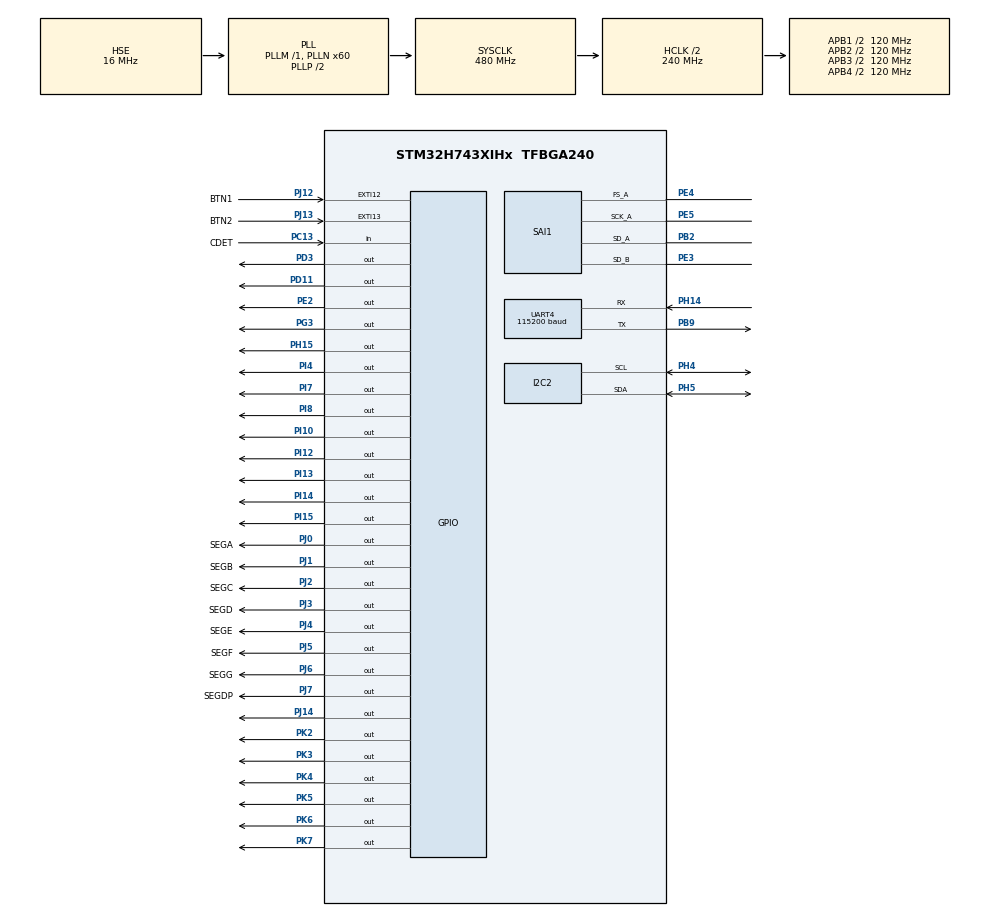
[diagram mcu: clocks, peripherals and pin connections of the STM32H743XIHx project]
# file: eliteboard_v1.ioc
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Dma.Request0=SAI1_B
Dma.Request1=SAI1_A
Dma.SAI1_A.1.Direction=DMA_PERIPH_TO_MEMORY
Dma.SAI1_A.1.EventEnable=DISABLE
Dma.SAI1_A.1.FIFOMode=DMA_FIFOMODE_DISABLE
Dma.SAI1_A.1.Instance=DMA1_Stream1
Dma.SAI1_A.1.MemDataAlignment=DMA_MDATAALIGN_HALFWORD
Dma.SAI1_A.1.MemInc=DMA_MINC_ENABLE
Dma.SAI1_A.1.Mode=DMA_CIRCULAR
Dma.SAI1_A.1.PeriphDataAlignment=DMA_PDATAALIGN_HALFWORD
Dma.SAI1_A.1.PeriphInc=DMA_PINC_DISABLE
Dma.SAI1_A.1.Polarity=HAL_DMAMUX_REQ_GEN_RISING
Dma.SAI1_A.1.Priority=DMA_PRIORITY_LOW
Dma.SAI1_A.1.RequestNumber=1
Dma.SAI1_A.1.SignalID=NONE
Dma.SAI1_A.1.SyncEnable=DISABLE
Dma.SAI1_A.1.SyncPolarity=HAL_DMAMUX_SYNC_NO_EVENT
Dma.SAI1_A.1.SyncRequestNumber=1
Dma.SAI1_A.1.SyncSignalID=NONE
Dma.SAI1_B.0.Direction=DMA_MEMORY_TO_PERIPH
Dma.SAI1_B.0.EventEnable=DISABLE
Dma.SAI1_B.0.FIFOMode=DMA_FIFOMODE_DISABLE
Dma.SAI1_B.0.Instance=DMA1_Stream0
Dma.SAI1_B.0.MemDataAlignment=DMA_MDATAALIGN_HALFWORD
Dma.SAI1_B.0.MemInc=DMA_MINC_ENABLE
Dma.SAI1_B.0.Mode=DMA_CIRCULAR
Dma.SAI1_B.0.PeriphDataAlignment=DMA_PDATAALIGN_HALFWORD
Dma.SAI1_B.0.PeriphInc=DMA_PINC_DISABLE
Dma.SAI1_B.0.Polarity=HAL_DMAMUX_REQ_GEN_RISING
Dma.SAI1_B.0.Priority=DMA_PRIORITY_LOW
Dma.SAI1_B.0.RequestNumber=1
Dma.SAI1_B.0.SignalID=NONE
Dma.SAI1_B.0.SyncEnable=DISABLE
Dma.SAI1_B.0.SyncPolarity=HAL_DMAMUX_SYNC_NO_EVENT
Dma.SAI1_B.0.SyncRequestNumber=1
Dma.SAI1_B.0.SyncSignalID=NONE
I2C2.Timing=0x307075B1
Mcu.Family=STM32H7
Mcu.Name=STM32H743XIHx
Mcu.Package=TFBGA240
NVIC.DMA1_Stream0_IRQn=true\:0\:0\:false\:false\:true\:false\:true
NVIC.DMA1_Stream1_IRQn=true\:0\:0\:false\:false\:true\:false\:true
NVIC.EXTI15_10_IRQn=true\:0\:0\:false\:false\:true\:true\:true
NVIC.PriorityGroup=NVIC_PRIORITYGROUP_4
NVIC.TIM1_UP_IRQn=true\:0\:0\:false\:false\:true\:true\:true
PA0_C.Signal=ADCx_INN1
PA13\ (JTMS/SWDIO).Mode=JTAG_5_pins
PA13\ (JTMS/SWDIO).Signal=DEBUG_JTMS-SWDIO
PA14\ (JTCK/SWCLK).Mode=JTAG_5_pins
PA14\ (JTCK/SWCLK).Signal=DEBUG_JTCK-SWCLK
PA15\ (JTDI).Mode=JTAG_5_pins
PA15\ (JTDI).Signal=DEBUG_JTDI
PA1_C.Signal=ADCx_INP1
PB2.Mode=SAI_A_AsyncSlave
PB2.Signal=SAI1_SD_A
PB3\ (JTDO/TRACESWO).Mode=JTAG_5_pins
PB3\ (JTDO/TRACESWO).Signal=DEBUG_JTDO-SWO
PB4\ (NJTRST).Mode=JTAG_5_pins
PB4\ (NJTRST).Signal=DEBUG_JTRST
PB9.Mode=Asynchronous
PB9.Signal=UART4_TX
PC13.GPIO_Label=CDET
PC13.GPIO_PuPd=GPIO_PULLUP
PC13.Signal=GPIO_Input
PC14-OSC32_IN\ (OSC32_IN).Mode=LSE-External-Oscillator
PC14-OSC32_IN\ (OSC32_IN).Signal=RCC_OSC32_IN
PC15-OSC32_OUT\ (OSC32_OUT).Mode=LSE-External-Oscillator
PC15-OSC32_OUT\ (OSC32_OUT).Signal=RCC_OSC32_OUT
PD11.Signal=GPIO_Output
PD3.Signal=GPIO_Output
PD7.Signal=SPI1_MOSI
PE2.Signal=GPIO_Output
PE3.Mode=SAI_B_SyncSlave
PE3.Signal=SAI1_SD_B
PE4.Mode=SAI_A_AsyncSlave
PE4.Signal=SAI1_FS_A
PE5.Mode=SAI_A_AsyncSlave
PE5.Signal=SAI1_SCK_A
PG3.Signal=GPIO_Output
PH0-OSC_IN\ (PH0).Mode=HSE-External-Oscillator
PH0-OSC_IN\ (PH0).Signal=RCC_OSC_IN
PH1-OSC_OUT\ (PH1).Mode=HSE-External-Oscillator
PH1-OSC_OUT\ (PH1).Signal=RCC_OSC_OUT
PH14.Mode=Asynchronous
PH14.Signal=UART4_RX
PH15.Signal=GPIO_Output
PH4.GPIO_Pu=GPIO_PULLUP
PH4.Mode=I2C
PH4.Signal=I2C2_SCL
PH5.GPIO_Pu=GPIO_PULLUP
PH5.Mode=I2C
PH5.Signal=I2C2_SDA
PI10.Signal=GPIO_Output
PI12.Signal=GPIO_Output
PI13.Signal=GPIO_Output
PI14.Signal=GPIO_Output
PI15.Signal=GPIO_Output
PI4.Signal=GPIO_Output
PI7.Signal=GPIO_Output
PI8.Signal=GPIO_Output
PJ0.GPIO_Label=SEGA
PJ0.Signal=GPIO_Output
PJ1.GPIO_Label=SEGB
PJ1.Signal=GPIO_Output
PJ12.GPIO_Label=BTN1
PJ12.Signal=GPXTI12
PJ13.GPIO_Label=BTN2
PJ13.Signal=GPXTI13
PJ14.Signal=GPIO_Output
PJ2.GPIO_Label=SEGC
PJ2.Signal=GPIO_Output
PJ3.GPIO_Label=SEGD
PJ3.Signal=GPIO_Output
PJ4.GPIO_Label=SEGE
PJ4.Signal=GPIO_Output
PJ5.GPIO_Label=SEGF
PJ5.Signal=GPIO_Output
PJ6.GPIO_Label=SEGG
PJ6.Signal=GPIO_Output
PJ7.GPIO_Label=SEGDP
PJ7.Signal=GPIO_Output
PK2.Signal=GPIO_Output
PK3.Signal=GPIO_Output
PK4.Signal=GPIO_Output
PK5.Signal=GPIO_Output
PK6.Signal=GPIO_Output
PK7.Signal=GPIO_Output
ProjectManager.HeapSize=0x200
ProjectManager.StackSize=0x400
ProjectManager.TargetToolchain=Makefile
RCC.ADCFreq_Value=150000000
RCC.APB1Freq_Value=120000000
RCC.APB2Freq_Value=120000000
RCC.APB3Freq_Value=120000000
RCC.APB4Freq_Value=120000000
RCC.CortexFreq_Value=480000000
RCC.D1PPRE=RCC_APB3_DIV2
RCC.D2PPRE1=RCC_APB1_DIV2
RCC.D2PPRE2=RCC_APB2_DIV2
RCC.D3PPRE=RCC_APB4_DIV2
RCC.DIVM1=1
RCC.DIVM2=1
RCC.DIVM3=8
RCC.DIVN1=60
RCC.DIVN2=9
RCC.DIVN3=120
RCC.DIVP2=1
RCC.DIVQ1=8
RCC.DIVR3=3
RCC.HCLKFreq_Value=240000000
RCC.HPRE=RCC_HCLK_DIV2
RCC.HSE_VALUE=16000000
RCC.PLL2FRACN=3072
RCC.PLLFRACN=0
RCC.PLLSourceVirtual=RCC_PLLSOURCE_HSE
RCC.SYSCLKFreq_VALUE=480000000
RCC.SYSCLKSource=RCC_SYSCLKSOURCE_PLLCLK
RCC.USBCLockSelection=RCC_USBCLKSOURCE_HSI48
RCC.USBFreq_Value=48000000
SAI1.AudioMode-SAI_A_AsyncSlave=SAI_MODESLAVE_RX
SAI1.AudioMode-SAI_B_SyncSlave=SAI_MODESLAVE_TX
SAI1.ClockStrobing-SAI_A_AsyncSlave=SAI_CLOCKSTROBING_FALLINGEDGE
SAI1.ClockStrobing-SAI_B_SyncSlave=SAI_CLOCKSTROBING_FALLINGEDGE
SAI1.DataSize-SAI_A_AsyncSlave=SAI_DATASIZE_16
SAI1.DataSize-SAI_B_SyncSlave=SAI_DATASIZE_16
SAI1.FSOffset-SAI_A_AsyncSlave=SAI_FS_FIRSTBIT
SAI1.FSOffset-SAI_B_SyncSlave=SAI_FS_FIRSTBIT
SAI1.FSPolarity-SAI_A_AsyncSlave=SAI_FS_ACTIVE_HIGH
SAI1.FSPolarity-SAI_B_SyncSlave=SAI_FS_ACTIVE_HIGH
SAI1.FrameLength-SAI_A_AsyncSlave=32
SAI1.FrameLength-SAI_B_SyncSlave=32
SAI1.Instance-SAI_A_AsyncSlave=SAI$Index_Block_A
SAI1.Instance-SAI_B_SyncSlave=SAI$Index_Block_B
SAI1.SlotActive-SAI_A_AsyncSlave=0x0000FFFF
SAI1.SlotActive-SAI_B_SyncSlave=0x0000FFFF
SAI1.SlotNumber-SAI_A_AsyncSlave=2
SAI1.SlotNumber-SAI_B_SyncSlave=2
SAI1.TriState-SAI_A_AsyncSlave=SAI_OUTPUT_RELEASED
SAI1.TriState-SAI_B_SyncSlave=SAI_OUTPUT_NOTRELEASED
SAI1.VirtualMode-SAI_A_AsyncSlave=VM_SLAVE
SAI1.VirtualMode-SAI_B_SyncSlave=VM_SLAVE
SAI1.VirtualSlotActive-SAI_A_AsyncSlave=SAI_SLOTACTIVE_ALL
SAI1.VirtualSlotActive-SAI_B_SyncSlave=SAI_SLOTACTIVE_ALL
SH.ADCx_INN1.0=ADC2_INN1
SH.ADCx_INN1.1=ADC1_INN1
SH.ADCx_INP1.0=ADC2_INP1
SH.ADCx_INP1.1=ADC1_INP1
TIM1.Period=10000-1
TIM1.Prescaler=2400-1
UART4.BaudRate=115200
VP_TIM1_VS_ClockSourceINT.Mode=Internal
board=custom

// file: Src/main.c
/* USER CODE BEGIN Header */
/**
  ******************************************************************************
  * @file           : main.c
  * @brief          : Main program body
  ******************************************************************************
  * @attention
  *
  * <h2><center>&copy; Copyright (c) 2019 STMicroelectronics.
  * All rights reserved.</center></h2>
  *
  * This software component is licensed by ST under BSD 3-Clause license,
  * the "License"; You may not use this file except in compliance with the
  * License. You may obtain a copy of the License at:
  *                        opensource.org/licenses/BSD-3-Clause
  *
  ******************************************************************************
  */
/* USER CODE END Header */
#include "main.h"
#include "dma.h"
#include "i2c.h"
#include "sai.h"
#include "tim.h"
#include "usart.h"
#include "gpio.h"

/* USER CODE BEGIN Includes */
#include "i2c_hal.h"
#include "wm8731.h"
#include <math.h>
#include "arm_math.h"
#include "arm_const_structs.h"
#include <string.h>
/* USER CODE END Includes */

/* USER CODE BEGIN PD */

#define BUF_SIZE 256
#define HALF_BUF_SIZE 128
#define N_COEFF 64

/* USER CODE END PD */

/* USER CODE BEGIN PV */

static enum{FFT_PASSTHROUGH, FFT_OLADD, BP_OLADD, FFT_OLSAVE, BP_OLSAVE} subtasks;

static subtask = FFT_OLSAVE;

// FILTER COEFFICIENTS
static const float32_t coeffs[N_COEFF] = {
  8.02421002e-04,  7.25938064e-04,  5.12894046e-04,  1.31785153e-04,
 -4.31837866e-04, -1.13951343e-03, -1.87208380e-03, -2.42621876e-03,
 -2.54591366e-03, -1.98909127e-03, -6.16700551e-04,  1.51941922e-03,
  4.11934253e-03,  6.63558316e-03,  8.34733050e-03,  8.50650154e-03,
  6.53307221e-03,  2.21910582e-03, -4.10925132e-03, -1.15209924e-02,
 -1.85355123e-02, -2.33136428e-02, -2.39634396e-02, -1.89102476e-02,
 -7.25969981e-03,  1.09242204e-02,  3.44933495e-02,  6.12825307e-02,
  8.83731243e-02,  1.12515544e-01,  1.30638711e-01,  1.40353271e-01,
  1.40353271e-01,  1.30638711e-01,  1.12515544e-01,  8.83731243e-02,
  6.12825307e-02,  3.44933495e-02,  1.09242204e-02, -7.25969981e-03,
 -1.89102476e-02, -2.39634396e-02, -2.33136428e-02, -1.85355123e-02,
 -1.15209924e-02, -4.10925132e-03,  2.21910582e-03,  6.53307221e-03,
  8.50650154e-03,  8.34733050e-03,  6.63558316e-03,  4.11934253e-03,
  1.51941922e-03, -6.16700551e-04, -1.98909127e-03, -2.54591366e-03,
 -2.42621876e-03, -1.87208380e-03, -1.13951343e-03, -4.31837866e-04,
  1.31785153e-04,  5.12894046e-04,  7.25938064e-04,  8.02421002e-04};

// BANDPASS
static const uint16_t fs = 48000;
static float32_t wc = 2 * PI * 10000.0 / fs;
static const float32_t w_max = 2 * PI * 17000.0;
static const float32_t w_min = 2 * PI * 3000.0;
static const float32_t increment = 500.0 / fs;

// BUTTON FLAGS
static uint8_t fc_incr_flag = 0;
static uint8_t fc_decr_flag = 1;

/* USER CODE END PV */

void SystemClock_Config(void);
/* USER CODE BEGIN PFP */

void update_coeffs(float32_t *shift_coeff_buf, float32_t *shift_coeff_inv_buf);
void overlap_add(float32_t *oladd_buf, float32_t *overlap_buf);
void overlap_save(void);

/* USER CODE END PFP */

int main(void)
{

  /* MCU Configuration--------------------------------------------------------*/

  /* Reset of all peripherals, Initializes the Flash interface and the Systick. */

  HAL_Init();

  /* Configure the system clock */
  SystemClock_Config();

  /* Initialize all configured peripherals */
  MX_GPIO_Init();
  MX_DMA_Init();
  MX_I2C2_Init();
  MX_UART4_Init();
  MX_SAI1_Init();
  MX_TIM1_Init();
  /* USER CODE BEGIN 2 */

  struct i2c_dev_s i2c_dev;
  i2c_init(&i2c_dev, &hi2c2);
  struct wm8731_dev_s wm8731_dev;
  wm8731_init(&wm8731_dev, &i2c_dev, &hsai_BlockB1, &hsai_BlockA1, 0b00110100);

  wm8731_dev.setup(&wm8731_dev, ADC48_DAC48); //initialize audio codec and set sampling rate
  wm8731_dev.startDacDma(&wm8731_dev); //start audio output
  wm8731_dev.startAdcDma(&wm8731_dev); //start audio input

  // CMSIS library FFT function
  arm_cfft_instance_f32 *S;
  S = &arm_cfft_sR_f32_len256;

  // init all buffer pointers
  int16_t in_buf[BUF_SIZE];
  memset(in_buf, 0, BUF_SIZE*sizeof(int16_t));
  int16_t out_buf[BUF_SIZE];
  memset(out_buf, 0, BUF_SIZE*sizeof(int16_t));

  float32_t shift_buf[2*BUF_SIZE];
  memset(shift_buf, 0, (2*BUF_SIZE)*sizeof(float32_t));
  float32_t shift_coeff_buf[2*BUF_SIZE];
  memset(shift_coeff_buf, 0, (2*BUF_SIZE)*sizeof(float32_t));
  float32_t shift_coeff_inv_buf[2*BUF_SIZE];
  memset(shift_coeff_inv_buf, 0, (2*BUF_SIZE)*sizeof(float32_t));

  for (int i = 0; i < BUF_SIZE; i++){ // insert coeffs
    shift_coeff_buf[2*i] = cos(wc*i);
    shift_coeff_buf[2*i+1] = -sin(wc*i);
    shift_coeff_inv_buf[2*i] = cos(wc*i);
    shift_coeff_inv_buf[2*i+1] = sin(wc*i);
  }

  float32_t fft_buf[2*BUF_SIZE];
  memset(fft_buf, 0, 2*BUF_SIZE*sizeof(float32_t));
  float32_t ifft_buf[2*BUF_SIZE];
  memset(ifft_buf, 0, 2*BUF_SIZE*sizeof(float32_t));

  float32_t filter_coeff_buf[2*BUF_SIZE];
  memset(filter_coeff_buf, 0, 2*BUF_SIZE*sizeof(float32_t));
  for(int i = 0; i < N_COEFF; i++) filter_coeff_buf[2*i] = coeffs[i]; // insert coeffs
  arm_cfft_f32(S, filter_coeff_buf, 0, 1); // transform to coeffs in spectrum

  float32_t block_add_buf[2*BUF_SIZE];
  memset(block_add_buf, 0, 2*BUF_SIZE*sizeof(float32_t));
  float32_t overlap_buf[BUF_SIZE];
  memset(overlap_buf, 0, BUF_SIZE*sizeof(float32_t));

  /* USER CODE END 2 */

  /* Infinite loop */
  /* USER CODE BEGIN WHILE */

  while (1)
  {
    // read audio input into input buffer
    wm8731_waitInBuf(&wm8731_dev);
    wm8731_getInBuf(&wm8731_dev, &in_buf);

    switch (subtask){
      case FFT_PASSTHROUGH:
        /**
         * [IN]    -> Read Input  -> [FFT]
         * [FFT]   -> FFT         -> [FFT]
         * [FFT]   -> Passthrough -> [IFFT]
         * [IFFT]  -> IFFT        -> [IFFT]
         * [IFFT]  -> Put Buffer  -> [OUT]
         */

        // copy input buffer into fft buffer
        for(int i = 0; i < BUF_SIZE; i++) fft_buf[i] = (float32_t)in_buf[i]; // [0-255]
        memset(&fft_buf[BUF_SIZE], 0, BUF_SIZE*sizeof(float32_t)); // [256-511]

        arm_cfft_f32(S, fft_buf, 0, 1); // FFT
        memcpy(ifft_buf, fft_buf, 2*BUF_SIZE*sizeof(uint16_t)); // direct passthrough
        arm_cfft_f32(S, ifft_buf, 1, 1); // IFFT
        for(int i = 0; i < BUF_SIZE; i++) out_buf[i] = ifft_buf[i]; // put buffer
        break;

      case FFT_OLADD:

        /**
         * Whats the max delay?
         * Max delax using Dirac's is 128 for FFT length 512, if the overlap buffer has length 256.
         * Filter of length 129 results in max delay of 128,
         * which can be stored in the overlap buffer (if chosen large enough).
         * The FFT length is 512, so max 256 samples per channel ca be used.
         *
         * What happens if it is exceeded?
         * If the delay is more than 128, in time domain one could simply argue that there is not enough space to store
         * all the samples in the designated arrays.
         * Because the filtering is done in frequency domain, and because a discrete spectrum always corresponds with a periodic
         * time signal, using a delay of more than 128 would result in shifting the datapoints of the end of the array to the front
         * after transforming back into time domain.
         *
         * Whats the impulse response for swapping left and right?
         * Since the two channels are represented by the real and imaginary part of the spectrum respectively,
         * an impulse response of j will swap the channels.
        */

        /**
         * [IN]    -> Read Input  -> [FFT]
         * [FFT]   -> FFT         -> [FFT]
         * [FFT]   -> Filter      -> [IFFT]
         * [IFFT]  -> IFFT        -> [IFFT]
         * [IFFT]  -> Copy Buffer -> [OLADD]
         * [OLADD] -> Overlap-Add -> [OLADD]
         * [OLADD] -> Put Buffer  -> [OUT]
         */

        // copy input buffer into fft buffer
        for(int i = 0; i < BUF_SIZE; i++) fft_buf[i] = (float32_t)in_buf[i]; // [0-255]
        memset(&fft_buf[BUF_SIZE], 0, BUF_SIZE*sizeof(float32_t)); // [256-511]

        arm_cfft_f32(S, fft_buf, 0, 1); // FFT
        arm_cmplx_mult_cmplx_f32(fft_buf, filter_coeff_buf, ifft_buf, BUF_SIZE); // filter via spectrum
        arm_cfft_f32(S, ifft_buf, 1, 1); // IFFT
        memcpy(block_add_buf, ifft_buf, 2*BUF_SIZE*sizeof(float32_t)); // copy buffer
        overlap_add(block_add_buf, overlap_buf); // add and save overlap

        for(int i = 0; i < BUF_SIZE; i++) out_buf[i] = (int16_t)block_add_buf[i]; // put buffer
        break;

      case BP_OLADD:
        /**
         * [IN]    -> Read Input  -> [FFT]
         * [FFT]   -> Up-Shift    -> [SHIFT]
         * [SHIFT] -> FFT         -> [SHIFT]
         * [SHIFT] -> Filter      -> [IFFT]
         * [IFFT]  -> IFFT        -> [IFFT]
         * [IFFT]  -> Down-Shift  -> [OLADD]
         * [OLADD] -> Overlap-Add -> [OLADD]
         * [OLADD] -> Put Buffer  -> [OUT]
         */

        // copy input buffer into fft buffer
        for(int i = 0; i < BUF_SIZE; i++) fft_buf[i] = (float32_t)in_buf[i]; // [0-255]
        memset(&fft_buf[BUF_SIZE], 0, BUF_SIZE*sizeof(float32_t)); // [256-511]

        /**
         * Button 1 (PB3) --> fc + 500Hz
         * Button 2 (PB4) --> fc - 500Hz
        */
        if (fc_incr_flag || fc_decr_flag) update_coeffs(shift_coeff_buf, shift_coeff_inv_buf);

        arm_cmplx_mult_cmplx_f32(fft_buf, shift_coeff_buf, shift_buf, BUF_SIZE); // Up-Shift
        arm_cfft_f32(S, shift_buf, 0, 1); // FFT
        arm_cmplx_mult_cmplx_f32(shift_buf, filter_coeff_buf, ifft_buf, BUF_SIZE); // filter via spectrum
        arm_cfft_f32(S, ifft_buf, 1, 1); // IFFT
        arm_cmplx_mult_cmplx_f32(ifft_buf, shift_coeff_inv_buf, block_add_buf, BUF_SIZE); // Down-Shift
        overlap_add(block_add_buf, overlap_buf); // add and save overlap
        for (int i = 0; i < BUF_SIZE; i++) out_buf[i] = (int16_t)block_add_buf[i]; // put buffer
        break;

      case FFT_OLSAVE:
        /**
         * [IN]    -> Read Input  -> [FFT][128-383]
         * [ADD]   -> OverlapSave -> [FFT][0-127]
         * [FFT]   -> FFT         -> [FFT]
         * [FFT]   -> Filter      -> [IFFT]
         * [IFFT]  -> IFFT        -> [IFFT]
         * [IFFT]  -> Put Buffer -> [OUT]
         */

        memset(fft_buf, 0, 2*BUF_SIZE*sizeof(float32_t)); // [0-511]
        memcpy(fft_buf, &overlap_buf[HALF_BUF_SIZE], BUF_SIZE*sizeof(float32_t)); // [0-127]
        for(int i = 0; i < BUF_SIZE; i++) fft_buf[i+HALF_BUF_SIZE] = (float32_t)in_buf[i]; // [128-383]
        memcpy(overlap_buf, &fft_buf[HALF_BUF_SIZE], BUF_SIZE*sizeof(float32_t));

        arm_cfft_f32(S, fft_buf, 0, 1); // FFT
        arm_cmplx_mult_cmplx_f32(fft_buf, filter_coeff_buf, ifft_buf, BUF_SIZE); // filter via spectrum
        arm_cfft_f32(S, ifft_buf, 1, 1); // IFFT

        for(int i = 0; i < BUF_SIZE; i++) out_buf[i] = (int16_t) ifft_buf[i+HALF_BUF_SIZE]; // put buffer
        break;

      case BP_OLSAVE:
        // NOT IMPLEMENTED
        break;
    }

    // put output buffer
    wm8731_waitOutBuf(&wm8731_dev);
    wm8731_putOutBuf(&wm8731_dev, &out_buf);

    /* USER CODE END WHILE */
  }
}

void SystemClock_Config(void)
{
  RCC_OscInitTypeDef RCC_OscInitStruct = {0};
  RCC_ClkInitTypeDef RCC_ClkInitStruct = {0};

  /** Supply configuration update enable
  */
  HAL_PWREx_ConfigSupply(PWR_LDO_SUPPLY);
  /** Configure the main internal regulator output voltage
  */
  __HAL_PWR_VOLTAGESCALING_CONFIG(PWR_REGULATOR_VOLTAGE_SCALE0);

  while(!__HAL_PWR_GET_FLAG(PWR_FLAG_VOSRDY)) {}
  /** Initializes the RCC Oscillators according to the specified parameters
  * in the RCC_OscInitTypeDef structure.
  */
  RCC_OscInitStruct.OscillatorType = RCC_OSCILLATORTYPE_HSE;
  RCC_OscInitStruct.HSEState = RCC_HSE_ON;
  RCC_OscInitStruct.PLL.PLLState = RCC_PLL_ON;
  RCC_OscInitStruct.PLL.PLLSource = RCC_PLLSOURCE_HSE;
  RCC_OscInitStruct.PLL.PLLM = 1;
  RCC_OscInitStruct.PLL.PLLN = 60;
  RCC_OscInitStruct.PLL.PLLP = 2;
  RCC_OscInitStruct.PLL.PLLQ = 8;
  RCC_OscInitStruct.PLL.PLLR = 2;
  RCC_OscInitStruct.PLL.PLLRGE = RCC_PLL1VCIRANGE_3;
  RCC_OscInitStruct.PLL.PLLVCOSEL = RCC_PLL1VCOWIDE;
  RCC_OscInitStruct.PLL.PLLFRACN = 0;
  if (HAL_RCC_OscConfig(&RCC_OscInitStruct) != HAL_OK)
  {
    Error_Handler();
  }
  /** Initializes the CPU, AHB and APB buses clocks
  */
  RCC_ClkInitStruct.ClockType = RCC_CLOCKTYPE_HCLK|RCC_CLOCKTYPE_SYSCLK
                              |RCC_CLOCKTYPE_PCLK1|RCC_CLOCKTYPE_PCLK2
                              |RCC_CLOCKTYPE_D3PCLK1|RCC_CLOCKTYPE_D1PCLK1;
  RCC_ClkInitStruct.SYSCLKSource = RCC_SYSCLKSOURCE_PLLCLK;
  RCC_ClkInitStruct.SYSCLKDivider = RCC_SYSCLK_DIV1;
  RCC_ClkInitStruct.AHBCLKDivider = RCC_HCLK_DIV2;
  RCC_ClkInitStruct.APB3CLKDivider = RCC_APB3_DIV2;
  RCC_ClkInitStruct.APB1CLKDivider = RCC_APB1_DIV2;
  RCC_ClkInitStruct.APB2CLKDivider = RCC_APB2_DIV2;
  RCC_ClkInitStruct.APB4CLKDivider = RCC_APB4_DIV2;

  if (HAL_RCC_ClockConfig(&RCC_ClkInitStruct, FLASH_LATENCY_4) != HAL_OK)
  {
    Error_Handler();
  }
}

/* USER CODE BEGIN 4 */

void overlap_add(float32_t *oladd_buf, float32_t *overlap_buf){
  for(int i = 0; i < BUF_SIZE; i++) {
    oladd_buf[i] += overlap_buf[i]; // add saved overlap sample
    overlap_buf[i] = oladd_buf[BUF_SIZE+i]; // save new overlap sample
  }
}

void overlap_save(void){
  // TODO
}

void update_coeffs(float32_t *shift_coeff_buf, float32_t *shift_coeff_inv_buf){
  // calc new center frequency
  wc += (fc_incr_flag - fc_decr_flag) * increment * PI * 2;
  // upper and lower bound
  if(wc > w_max) wc = w_max;
  if(wc < 0) wc = w_min;
  // calc new shift coeffs
  for (int i = 0; i < BUF_SIZE; i++){
    shift_coeff_buf[2*i] = cos(wc*i);
    shift_coeff_buf[2*i+1] = -sin(wc*i);
    shift_coeff_inv_buf[2*i] = cos(wc*i);
    shift_coeff_inv_buf[2*i+1] = sin(wc*i);
  }
  // reset flags
  fc_incr_flag = 0;
  fc_decr_flag = 0;
}

void HAL_GPIO_EXTI_Callback(uint16_t GPIO_Pin) {
  if(GPIO_Pin == BTN1_Pin) fc_incr_flag = 1;
  if(GPIO_Pin == BTN2_Pin) fc_decr_flag = 1;
}

/* USER CODE END 4 */

void Error_Handler(void)
{
}

/************************ (C) COPYRIGHT STMicroelectronics *****END OF FILE****/
